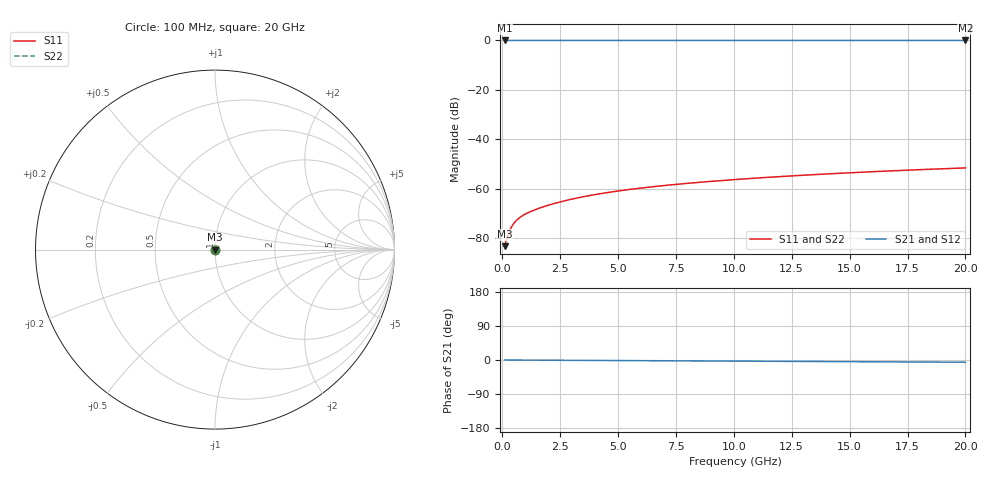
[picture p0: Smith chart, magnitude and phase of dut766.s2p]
! Touchstone file exported from HFSS 2026.1.0
!  File:  C:/ffzhzh/LocalFiles/Ansys_Project_Files/temp_train_TSV_766_1783183331_43440.aedt
!  Generated:  12:43:50 AM Jul  5, 2026
!  Design:  TSV
!  Project:  temp_train_TSV_766_1783183331_43440
! Variables:
!  h_bsmrdl = 2um
!  h_ox = 20um
!  h_rdl = 5um
!  h_sub = 52.51um
!  h_tmrdl = 5um
!  h_tsv = 52.51um
!  h_via = 3um
!  l_bsmrdl = 300um
!  l_sub = 429.44um
!  l_tmrdl = 200um
!  m_sub = 200um
!  pitch = 59.12um
!  r_tsv = 14.72um
!  s_tmrdl = 10um
!  w_bsmrdl = 18um
!  w_sub = 500um
!  w_tmrdl = 12um
!  x_tsv_center1 = 206um
!  x_tsv_center2 = 524um
!  x_tsv_center3 = 736um
!  x_tsv_center4 = 1054um
!  x_tsv_center5 = 1266um
!  x_tsv_center6 = 1584um
# GHz S MA R 50.000000
! Terminal data exported
! Port[1] = TSV1_1_T1
! Port[2] = TSV1_1_T2
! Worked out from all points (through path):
!   200 points, 100 MHz to 20 GHz, reference 50 ohm
!   highest |S21| = 0.00 dB at 100 MHz (marker M1); lowest = 0.0 dB at 20 GHz (marker M2)
!   lowest |S11| = -83.3 dB at 100 MHz (marker M3), VSWR 1.00, Z = 50 + j0.00402 ohm
!   |S11| at or under -10 dB: start of sweep to end of sweep
!   |S22| runs from -83.3 to -51.6 dB; largest |S21 - S12| = 2.3e-15
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0.1  6.808e-05 36.2  0.9999 -0.0  0.9999 -0.0  6.808e-05 36.2
! Gamma 0 0 0 0
! Port Impedance 50 0 50 0
0.2  0.0001008 50.7  0.9999 -0.1  0.9999 -0.1  0.0001008 50.7
0.3  0.0001356 55.4  0.9999 -0.1  0.9999 -0.1  0.0001356 55.4
0.4  0.0001682 56.8  0.9999 -0.1  0.9999 -0.1  0.0001682 56.8
0.5  0.0001975 57.0  0.9999 -0.2  0.9999 -0.2  0.0001975 57.0
0.6  0.0002235 56.8  0.9999 -0.2  0.9999 -0.2  0.0002235 56.8
0.7  0.0002468 56.6  0.9999 -0.2  0.9999 -0.2  0.0002468 56.6
0.8  0.0002679 56.4  0.9999 -0.2  0.9999 -0.2  0.0002679 56.4
1  0.0003053 56.5  0.9998 -0.3  0.9998 -0.3  0.0003053 56.5
1.4  0.0003705 57.6  0.9998 -0.4  0.9998 -0.4  0.0003705 57.6
2  0.0004615 60.0  0.9998 -0.6  0.9998 -0.6  0.0004615 60.0
2.7  0.0005661 62.3  0.9997 -0.8  0.9997 -0.8  0.0005661 62.3
3.5  0.0006834 64.0  0.9997 -1.0  0.9997 -1.0  0.0006834 64.0
4.2  0.0007831 65.0  0.9997 -1.2  0.9997 -1.2  0.0007831 65.0
5  0.0008931 65.7  0.9997 -1.5  0.9997 -1.5  0.0008931 65.7
5.9  0.001012 66.4  0.9996 -1.7  0.9996 -1.7  0.001012 66.4
6.8  0.001127 66.9  0.9996 -2.0  0.9996 -2.0  0.001127 66.9
8.3  0.001313 67.5  0.9995 -2.4  0.9995 -2.4  0.001313 67.5
10.1  0.001528 68.1  0.9995 -3.0  0.9995 -3.0  0.001528 68.1
13.4  0.001908 68.7  0.9994 -3.9  0.9994 -3.9  0.001908 68.7
16.7  0.002273 68.9  0.9994 -4.9  0.9994 -4.9  0.002273 68.9
20  0.002619 68.6  0.9993 -5.9  0.9993 -5.9  0.002619 68.6
